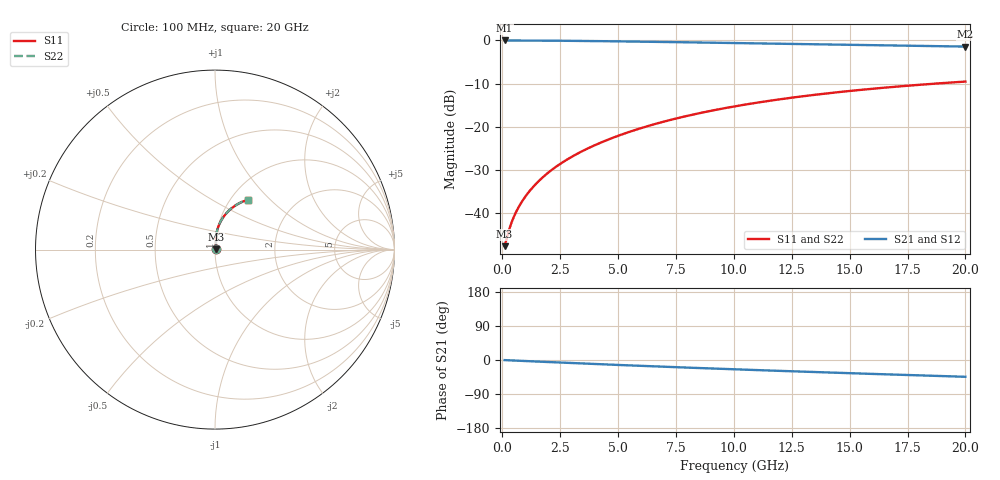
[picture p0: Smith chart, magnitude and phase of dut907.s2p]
! Touchstone file exported from HFSS 2024.1.0
!  File:  C:/UserFiles/LocalFiles/RDL_TSV_Batchsim/temp_RDL_bottom_907_1779940262.aedt
!  Generated:  11:53:36 AM May 28, 2026
!  Design:  RDL_bottom
!  Project:  temp_RDL_bottom_907_1779940262
!  Setup:  Setup1
!  Solution:  Sweep
! Variables:
!  dtsv = 10.80580581um
!  hbump = 3um
!  htsv = 67.05um
!  ldown = 674.72um
!  lrdl = 100um
!  p = 40
!  p1 = 45.05um
!  rhole = 1um
!  t = 450um
!  tdown = 2.75um
!  trdl = 3.915915916um
!  wdown = 25um
!  wrdl = 20um
# GHz S MA R 50.000000
! Terminal data exported
! Port[1] = RDL1_T1
! Port[2] = RDL1_T2
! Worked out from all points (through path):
!   200 points, 100 MHz to 20 GHz, reference 50 ohm
!   highest |S21| = -0.03 dB at 100 MHz (marker M1); lowest = -1.5 dB at 20 GHz (marker M2)
!   group delay of S21, straight-line fit = 6.09 ps
!   lowest |S11| = -47.7 dB at 100 MHz (marker M3), VSWR 1.01, Z = 50.4 + j0.176 ohm
!   |S11| at or under -10 dB: start of sweep to 18.76 GHz
!   |S22| runs from -47.7 to -9.5 dB; largest |S21 - S12| = 4e-15
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0.1  0.004139 25.0  0.9962 -0.3  0.9962 -0.3  0.004139 25.0
! Gamma 0 0 0 0
! Port Impedance 50 0 50 0
0.3  0.006478 50.1  0.9957 -0.9  0.9957 -0.9  0.006478 50.1
0.4  0.007777 56.0  0.9955 -1.1  0.9955 -1.1  0.007776 56.0
0.5  0.009068 60.1  0.9952 -1.4  0.9952 -1.4  0.009067 60.1
0.6  0.01035 63.4  0.9949 -1.7  0.9949 -1.7  0.01035 63.4
0.8  0.01294 68.3  0.9944 -2.2  0.9944 -2.2  0.01294 68.3
1  0.01559 71.9  0.994 -2.7  0.994 -2.7  0.01558 71.9
1.2  0.01829 74.6  0.9934 -3.3  0.9934 -3.3  0.01829 74.6
1.7  0.02528 79.0  0.9919 -4.6  0.9919 -4.6  0.02528 79.1
2.2  0.03258 81.7  0.9899 -5.9  0.9899 -5.9  0.03258 81.7
2.8  0.04172 83.6  0.9871 -7.5  0.9871 -7.5  0.04172 83.6
3.5  0.05287 84.8  0.9831 -9.3  0.9831 -9.3  0.05289 84.8
4.2  0.06454 85.2  0.9785 -11.1  0.9785 -11.1  0.06456 85.2
5  0.07842 85.1  0.9728 -13.0  0.9728 -13.0  0.07845 85.1
5.9  0.0946 84.4  0.9657 -15.2  0.9657 -15.2  0.09465 84.4
6.8  0.1112 83.2  0.9583 -17.3  0.9583 -17.3  0.1113 83.3
8.4  0.1413 80.6  0.9445 -21.0  0.9445 -21.0  0.1414 80.6
10.1  0.1731 77.2  0.9297 -24.7  0.9297 -24.7  0.1733 77.2
11.7  0.2024 73.8  0.9157 -28.1  0.9157 -28.1  0.2026 73.8
13.4  0.2324 70.1  0.901 -31.6  0.901 -31.6  0.2326 70.2
16.7  0.286 63.1  0.873 -38.1  0.873 -38.1  0.2863 63.2
20  0.3331 56.4  0.846 -44.3  0.846 -44.3  0.3335 56.5
